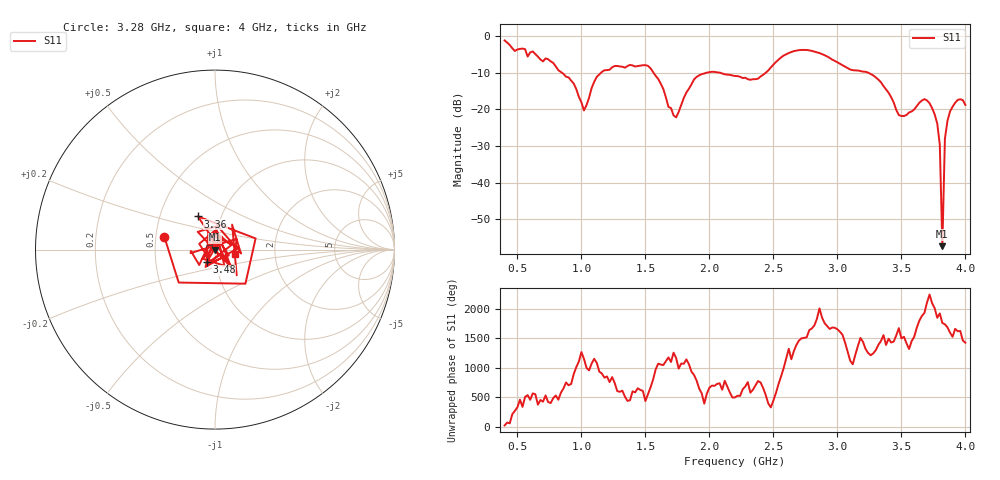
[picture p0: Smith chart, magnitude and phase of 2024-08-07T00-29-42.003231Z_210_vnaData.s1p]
!Created with skrf (http://scikit-rf.org).
# Hz S RI R 50.0
!freq ReS11 ImS11
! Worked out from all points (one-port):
!   181 points, 400 MHz to 4 GHz, reference 50 ohm
!   lowest |S11| = -57.4 dB at 3.82 GHz (marker M1), VSWR 1.00, Z = 50.1 - j0.0804 ohm
!   |S11| at or under -10 dB: 1.564 GHz to 1.978 GHz (414.1 MHz wide, 23.4 % of centre); 2.083 GHz to 2.44 GHz (357.1 MHz wide, 15.8 % of centre); 3.242 GHz to end of sweep (the widest 3 of 4)
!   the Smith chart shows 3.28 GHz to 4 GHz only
!   S11 on the Smith chart (normalised r, x): 3.28 GHz: 0.56, +0.08; 3.36 GHz: 0.78, +0.30; 3.48 GHz: 0.90, -0.13; 4 GHz: 1.25, -0.06
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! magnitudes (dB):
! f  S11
! 400 MHz  -1.2
! 860 MHz  -10.3
! 940 MHz  -13.0
! 1.02 GHz  -20.3
! 1.12 GHz  -11.1
! 1.3 GHz  -8.3
! 1.52 GHz  -8.1
! 1.62 GHz  -13.0
! 1.72 GHz  -21.7
! 1.76 GHz  -20.7
! 1.9 GHz  -11.2
! 2.2 GHz  -10.9
! 2.38 GHz  -11.6
! 2.66 GHz  -4.1
! 2.86 GHz  -4.6
! 3.1 GHz  -9.1
! 3.28 GHz  -10.7
! 3.36 GHz  -13.6
! 3.48 GHz  -21.6
! 3.56 GHz  -20.9
! 3.68 GHz  -17.2
! 3.78 GHz  -23.9
! 3.8 GHz  -29.6
! 3.82 GHz  -57.4
! 3.84 GHz  -28.0
! 3.86 GHz  -23.1
! 3.94 GHz  -17.4
! 4 GHz  -18.8
